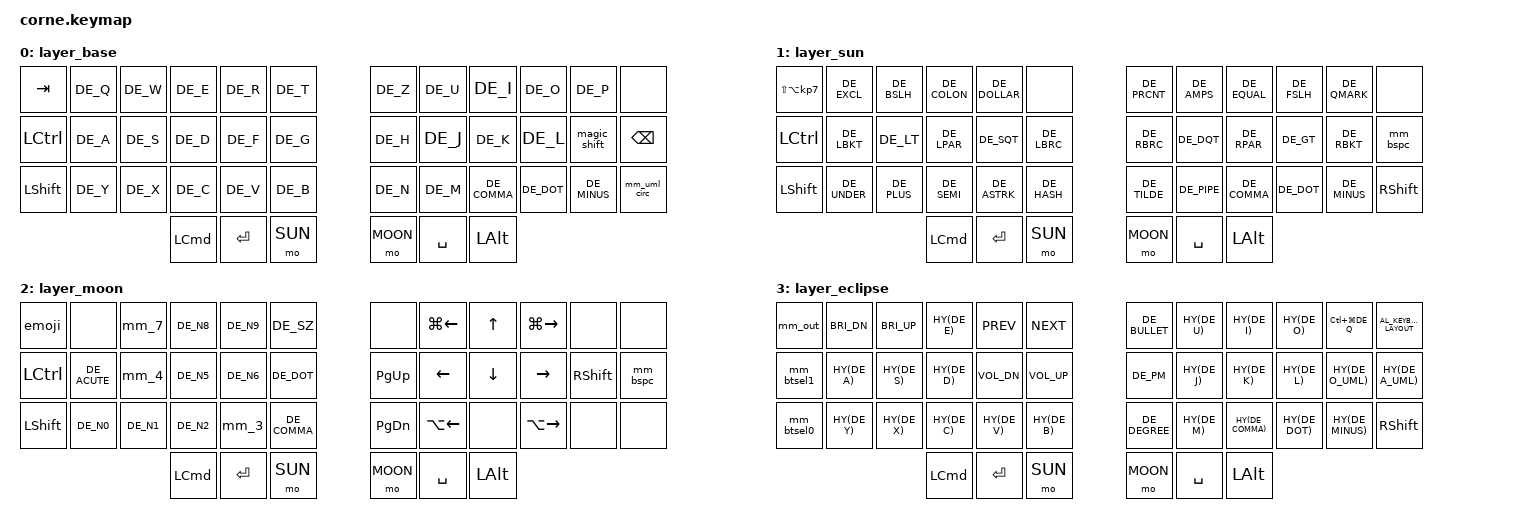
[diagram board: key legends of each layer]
#include <behaviors.dtsi>
#include <dt-bindings/zmk/bt.h>
#include <dt-bindings/zmk/keys.h>
#include <dt-bindings/zmk/outputs.h>
#include "keys_de.h"
#include "keypos_qwertz.h"

#define BASE 0
#define SUN 1
#define MOON 2
#define ECLIPSE 3


#define R_SHIFTED(NAME, REGULAR, SHIFTED) \
    NAME: NAME { \
        compatible = "zmk,behavior-mod-morph"; \
        #binding-cells = <0>; \
        bindings = REGULAR, SHIFTED; \
        mods = <(MOD_LSFT|MOD_RSFT)>; \
    };
#define R_SHIFT_CMD_NUM(NAME, NUMBER) \
    NAME: NAME { \
        compatible = "zmk,behavior-mod-morph"; \
        #binding-cells = <0>; \
        bindings = <&kp NUMBER>, <&kp LG(NUMBER)>; \
        mods = <(MOD_LSFT|MOD_RSFT)>; \
        keep-mods = <(MOD_LSFT|MOD_RSFT)>; \
    };

#define R_UNI_START <&macro_tap &kp LC(SPACE)>, <&macro_press &kp LALT>
#define R_UNI_END <&macro_release &kp LALT>, <&macro_tap &kp LC(SPACE)>
#define R_UNICODE(NAME, U1, U2, U3, U4) ZMK_MACRO(NAME, wait-ms = <40>; tap-ms = <40>; \
    bindings = R_UNI_START, <&macro_tap &kp U1 &kp U2 &kp U3 &kp U4>, R_UNI_END;)

#define HYPER(keycode) LS(LC(LA(LG(keycode))))
#define HY HYPER

&soft_off {
    hold-time-ms = <3000>;
};

/ {
    keymap {
        compatible = "zmk,keymap";

        layer_base {
            bindings = <
/* ╭───────────┬─────────┬─────────┬─────────┬───────────┬─────────╮   ╭─────────┬──────────┬─────────────┬───────────┬─────────────┬─────────────╮ */
    &kp TAB     &kp DE_Q  &kp DE_W  &kp DE_E  &kp DE_R    &kp DE_T      &kp DE_Z  &kp DE_U   &kp DE_I      &kp DE_O    &kp DE_P      &none
/* ├───────────┼─────────┼─────────┼─────────┼───────────┼─────────┤   ├─────────┼──────────┼─────────────┼───────────┼─────────────┼─────────────┤ */
    &kp LCTRL   &kp DE_A  &kp DE_S  &kp DE_D  &kp DE_F    &kp DE_G      &kp DE_H  &kp DE_J   &kp DE_K      &kp DE_L    &magic_shift  &kp BSPC
/* ├───────────┼─────────┼─────────┼─────────┼───────────┼─────────┤   ├─────────┼──────────┼─────────────┼───────────┼─────────────┼─────────────┤ */
    &kp LSHIFT  &kp DE_Y  &kp DE_X  &kp DE_C  &kp DE_V    &kp DE_B      &kp DE_N  &kp DE_M   &kp DE_COMMA  &kp DE_DOT  &kp DE_MINUS  &mm_uml_circ
/* ╰───────────┴─────────┴─────────┼─────────┼───────────┼─────────┤   ├─────────┼──────────┼─────────────┼───────────┴─────────────┴─────────────╯ */
                                    &kp LCMD  &kp RETURN  &mo SUN       &mo MOON  &kp SPACE  &kp LALT
/*                                 ╰─────────┴───────────┴─────────╯   ╰─────────┴──────────┴─────────────╯                                         */
            >;
        };

        layer_sun {
            bindings = <
/* ╭──────────────────┬─────────────┬────────────┬─────────────┬──────────────┬────────────╮   ╭─────────────┬────────────┬─────────────┬────────────┬─────────────┬──────────╮ */
    &kp LS(LA(KP_N7))  &kp DE_EXCL   &kp DE_BSLH  &kp DE_COLON  &kp DE_DOLLAR  &none            &kp DE_PRCNT  &kp DE_AMPS  &kp DE_EQUAL  &kp DE_FSLH  &kp DE_QMARK  &none
/* ├──────────────────┼─────────────┼────────────┼─────────────┼──────────────┼────────────┤   ├─────────────┼────────────┼─────────────┼────────────┼─────────────┼──────────┤ */
    &kp LCTRL          &kp DE_LBKT   &kp DE_LT    &kp DE_LPAR   &kp DE_SQT     &kp DE_LBRC      &kp DE_RBRC   &kp DE_DQT   &kp DE_RPAR   &kp DE_GT    &kp DE_RBKT   &mm_bspc
/* ├──────────────────┼─────────────┼────────────┼─────────────┼──────────────┼────────────┤   ├─────────────┼────────────┼─────────────┼────────────┼─────────────┼──────────┤ */
    &kp LSHFT          &kp DE_UNDER  &kp DE_PLUS  &kp DE_SEMI   &kp DE_ASTRK   &kp DE_HASH      &kp DE_TILDE  &kp DE_PIPE  &kp DE_COMMA  &kp DE_DOT   &kp DE_MINUS  &kp RSHFT
/* ╰──────────────────┴─────────────┴────────────┼─────────────┼──────────────┼────────────┤   ├─────────────┼────────────┼─────────────┼────────────┴─────────────┴──────────╯ */
                                                  &kp LCMD      &kp RETURN     &mo SUN          &mo MOON      &kp SPACE    &kp LALT
/*                                               ╰─────────────┴──────────────┴────────────╯   ╰─────────────┴────────────┴─────────────╯                                       */
            >;
        };

        layer_moon {
            bindings = <
/* ╭──────────┬─────────────┬──────────┬──────────┬───────────┬─────────────╮   ╭───────────┬─────────────┬─────────┬──────────────┬─────────────┬─────────╮ */
    &emoji     &none         &mm_7      &kp DE_N8  &kp DE_N9   &kp DE_SZ         &none       &kp LG(LEFT)  &kp UP    &kp LG(RIGHT)  &none         &none
/* ├──────────┼─────────────┼──────────┼──────────┼───────────┼─────────────┤   ├───────────┼─────────────┼─────────┼──────────────┼─────────────┼─────────┤ */
    &kp LCTRL  &kp DE_ACUTE  &mm_4      &kp DE_N5  &kp DE_N6   &kp DE_DOT        &kp PG_UP   &kp LEFT      &kp DOWN  &kp RIGHT      &kp RSHIFT    &mm_bspc
/* ├──────────┼─────────────┼──────────┼──────────┼───────────┼─────────────┤   ├───────────┼─────────────┼─────────┼──────────────┼─────────────┼─────────┤ */
    &kp LSHFT  &kp DE_N0     &kp DE_N1  &kp DE_N2  &mm_3       &kp DE_COMMA      &kp PG_DN   &kp LA(LEFT)  &none     &kp LA(RIGHT)  &none         &none
/* ╰──────────┴─────────────┴──────────┼──────────┼───────────┼─────────────┤   ├───────────┼─────────────┼─────────┼──────────────┴─────────────┴─────────╯ */
                                        &kp LCMD   &kp RETURN  &mo SUN           &mo MOON    &kp SPACE     &kp LALT
/*                                     ╰──────────┴───────────┴─────────────╯   ╰───────────┴─────────────┴─────────╯                                        */
            >;
        };

        layer_eclipse {
            bindings = <
/* ╭───────────┬─────────────┬─────────────┬─────────────┬─────────────┬─────────────╮   ╭──────────────┬─────────────┬─────────────────┬───────────────┬─────────────────┬─────────────────────────╮ */
    &mm_out     &kp C_BRI_DN  &kp C_BRI_UP  &kp HY(DE_E)  &kp C_PREV    &kp C_NEXT        &kp DE_BULLET  &kp HY(DE_U)  &kp HY(DE_I)      &kp HY(DE_O)    &kp LC(LG(DE_Q))  &kp C_AL_KEYBOARD_LAYOUT
/* ├───────────┼─────────────┼─────────────┼─────────────┼─────────────┼─────────────┤   ├──────────────┼─────────────┼─────────────────┼───────────────┼─────────────────┼─────────────────────────┤ */
    &mm_btsel1  &kp HY(DE_A)  &kp HY(DE_S)  &kp HY(DE_D)  &kp C_VOL_DN  &kp C_VOL_UP      &kp DE_PM      &kp HY(DE_J)  &kp HY(DE_K)      &kp HY(DE_L)    &kp HY(DE_O_UML)  &kp HY(DE_A_UML)
/* ├───────────┼─────────────┼─────────────┼─────────────┼─────────────┼─────────────┤   ├──────────────┼─────────────┼─────────────────┼───────────────┼─────────────────┼─────────────────────────┤ */
    &mm_btsel0  &kp HY(DE_Y)  &kp HY(DE_X)  &kp HY(DE_C)  &kp HY(DE_V)  &kp HY(DE_B)      &kp DE_DEGREE  &kp HY(DE_M)  &kp HY(DE_COMMA)  &kp HY(DE_DOT)  &kp HY(DE_MINUS)  &kp RSHIFT
/* ╰───────────┴─────────────┴─────────────┼─────────────┼─────────────┼─────────────┤   ├──────────────┼─────────────┼─────────────────┼───────────────┴─────────────────┴─────────────────────────╯ */
                                            &kp LCMD      &kp RETURN    &mo SUN           &mo MOON       &kp SPACE     &kp LALT
/*                                         ╰─────────────┴─────────────┴─────────────╯   ╰──────────────┴─────────────┴─────────────────╯                                                             */
            >;
        };
    };
 
    combos {
        compatible = "zmk,combos";

        // ╭─────────────────────────╮ ╭─────────────────────────╮
        // │ TAB  Q   W   E   R   T  │ │  Z   U   I   O   P   UE │
        // │ CPS  A   S   D   F   G  │ │  H   J   K   L   OE  AE │
        // │  LT  Y   X   C   V   B  │ │  N   M   ,  PNK MNS RSH │
        // ╰───────────╮ DL2 DL1 DL0 │ │ DR0 DR1 DR2 ╭───────────╯
        //             ╰─────────────╯ ╰─────────────╯

        esc { key-positions = <posTAB posQ>; bindings = <&kp ESC>; layers = <BASE>; require-prior-idle-ms = <200>; };
        qw { key-positions = <posQ posW>; bindings = <&kp DE_LBRC>; layers = <BASE>; require-prior-idle-ms = <500>; };
        we { key-positions = <posW posE>; bindings = <&kp DE_LPAR>; layers = <BASE>; require-prior-idle-ms = <500>; };
        er { key-positions = <posE posR>; bindings = <&kp DE_LBKT>; layers = <BASE>; require-prior-idle-ms = <500>; };
        ui { key-positions = <posU posI>; bindings = <&kp DE_RBKT>; layers = <BASE>; require-prior-idle-ms = <500>; };
        io { key-positions = <posI posO>; bindings = <&kp DE_RPAR>; layers = <BASE>; require-prior-idle-ms = <500>; };
        op { key-positions = <posO posP>; bindings = <&kp DE_RBRC>; layers = <BASE>; require-prior-idle-ms = <500>; };

        n1 { key-positions = <posQ posA>;  bindings = <&kp N1>; layers = <BASE>; require-prior-idle-ms = <200>; };
        n2 { key-positions = <posW posS>;  bindings = <&kp N2>; layers = <BASE>; require-prior-idle-ms = <200>; };
        n3 { key-positions = <posE posD>;  bindings = <&kp N3>; layers = <BASE>; require-prior-idle-ms = <200>; };
        n4 { key-positions = <posR posF>;  bindings = <&kp N4>; layers = <BASE>; require-prior-idle-ms = <200>; };
        n5 { key-positions = <posT posG>;  bindings = <&kp N5>; layers = <BASE>; require-prior-idle-ms = <200>; };
        n6 { key-positions = <posZ posH>;  bindings = <&kp N6>; layers = <BASE>; require-prior-idle-ms = <200>; };
        n7 { key-positions = <posU posJ>;  bindings = <&kp N7>; layers = <BASE>; require-prior-idle-ms = <200>; };
        n8 { key-positions = <posI posK>;  bindings = <&kp N8>; layers = <BASE>; require-prior-idle-ms = <200>; };
        n9 { key-positions = <posO posL>;  bindings = <&kp N9>; layers = <BASE>; require-prior-idle-ms = <200>; };
        n0 { key-positions = <posP posOE>; bindings = <&kp N0>; layers = <BASE>; require-prior-idle-ms = <200>; };

        codeArrowLeft  { key-positions = <posA posS>;  bindings = <&tp_lt_minus>; layers = <SUN>; require-prior-idle-ms = <100>; };
        codeArrowRight { key-positions = <posL posOE>; bindings = <&tp_minus_gt>; layers = <SUN>; require-prior-idle-ms = <100>; };
        codeHeavyArrowLeft  { key-positions = <posQ posW>;  bindings = <&tp_lt_equal>; layers = <SUN>; require-prior-idle-ms = <100>; };
        codeHeavyArrowRight { key-positions = <posO posP>; bindings = <&tp_equal_gt>; layers = <SUN>; require-prior-idle-ms = <100>; };


        mute { key-positions = <posF posG>; bindings = <&kp C_MUTE>; layers = <ECLIPSE>; require-prior-idle-ms = <200>; };
        playpause { key-positions = <posR posT>; bindings = <&kp C_PP>; layers = <ECLIPSE>; require-prior-idle-ms = <200>; };

        comment { key-positions = <posI posO>; bindings = <&kp LS(LG(N7))>; layers = <SUN>; require-prior-idle-ms = <200>; };

        lalt { key-positions = <posLT posY>; bindings = <&kp RALT>; layers = <BASE SUN MOON>; require-prior-idle-ms = <200>; };
        del { key-positions = <posP posUE>; bindings = <&kp DELETE>; layers = <BASE SUN MOON>; require-prior-idle-ms = <100>; };
        lbsp { key-positions = <posTAB posCPS>; bindings = <&kp BSPC>; layers = <BASE>; require-prior-idle-ms = <100>; };
        ctrlA { key-positions = <posX posC>; bindings = <&kp LC(DE_A)>; layers = <BASE>; require-prior-idle-ms = <300>; };
        ctrlC { key-positions = <posC posV>; bindings = <&kp LC(DE_C)>; layers = <BASE>; require-prior-idle-ms = <300>; };
        palette { key-positions = <posK posL>; bindings = <&kp LS(LG(DE_P))>; layers = <SUN>; require-prior-idle-ms = <300>; };

        uml { key-positions = <posKOM posPNK>; bindings = <&kp RA(U)>; layers = <BASE>; require-prior-idle-ms = <200>; };

        shiftAlt { key-positions = <posY posX>; bindings = <&kp LS(LALT)>; layers = <BASE SUN MOON>; require-prior-idle-ms = <200>; };

        altUp { key-positions = <posI posO>; bindings = <&kp LA(UP)>; layers = <MOON>; require-prior-idle-ms = <100>; };
        altDown { key-positions = <posK posL>; bindings = <&kp LA(DOWN)>; layers = <MOON>; require-prior-idle-ms = <100>; };
        cmdUp { key-positions = <posU posI>; bindings = <&kp LG(UP)>; layers = <MOON>; require-prior-idle-ms = <100>; };
        cmdDown { key-positions = <posJ posK>; bindings = <&kp LG(DOWN)>; layers = <MOON>; require-prior-idle-ms = <100>; };

        softoff { key-positions = <posR posT posZ posU>; bindings = <&soft_off>; layers = <BASE>; require-prior-idle-ms = <1000>; };
        // eclipse { key-positions = <posDR0 posDR1>; bindings = <&mo ECLIPSE>; layers = <BASE SUN MOON ECLIPSE>; require-prior-idle-ms = <200>; }; // :(
    };

    conditional_layers {
        compatible = "zmk,conditional-layers";

        tri_layer {
            if-layers = <SUN MOON>;
            then-layer = <ECLIPSE>;
        };
    };

    macros {
        ZMK_MACRO(r_bt0_clr, bindings = <&bt BT_SEL 0 &bt BT_CLR>; wait-ms = <0>;)
        ZMK_MACRO(r_bt1_clr, bindings = <&bt BT_SEL 1 &bt BT_CLR>; wait-ms = <0>;)
        
        // "type" macros
        ZMK_MACRO(tp_lt_minus, bindings = <&macro_tap &kp DE_LT &kp DE_MINUS>; wait-ms = <10>;)
        ZMK_MACRO(tp_minus_gt, bindings = <&macro_tap &kp DE_MINUS &kp DE_GT>; wait-ms = <10>;)
        ZMK_MACRO(tp_lt_equal, bindings = <&macro_tap &kp DE_LT &kp DE_EQUAL>; wait-ms = <10>;)
        ZMK_MACRO(tp_equal_gt, bindings = <&macro_tap &kp DE_EQUAL &kp DE_GT>; wait-ms = <10>;)

        R_UNICODE(uni_times,  N0, N0, D,  N7) // ×  U+00D7  MULTIPLICATION SIGN
        R_UNICODE(uni_fwast,  F,  F,  N0, A)  // ＊  U+FF0A  FULLWIDTH ASTERISK
        R_UNICODE(uni_square, N0, N0, B,  N2) // ²  U+00B2   SUPERSCRIPT TWO
        R_UNICODE(uni_hun_o,  N0, N1, N5, N1) // ő  U+0151  LATIN SMALL LETTER O WITH DOUBLE ACUTE
        R_UNICODE(uni_rarr,   N2, N1, N9, N2) // →  U+2192  RIGHTWARDS ARROW
        R_UNICODE(uni_larr,   N2, N1, N9, N0) // ←  U+2190  LEFTWARDS ARROW

        ZMK_MACRO(emoji, bindings = <&macro_press &kp GLOBE>, <&macro_tap &kp E>, <&macro_release &kp GLOBE>; wait-ms = <0>;)
    };

    behaviors {
        R_SHIFTED(mm_btsel0, <&bt BT_SEL 0>, <&r_bt0_clr>)
        R_SHIFTED(mm_btsel1, <&bt BT_SEL 1>, <&r_bt1_clr>)
        R_SHIFTED(mm_out, <&out OUT_BLE>, <&out OUT_USB>)

        R_SHIFTED(mm_bri, <&kp C_BRI_UP>, <&kp C_BRI_DN>)
        R_SHIFTED(mm_arr, <&uni_rarr>, <&uni_larr>)

        R_SHIFTED(mm_uml_circ, <&kp RA(U)>, <&kp DE_CARET>)
        R_SHIFTED(mm_bspc, <&kp BSPC>, <&kp DELETE>)

        R_SHIFT_CMD_NUM(mm_3, N3)
        R_SHIFT_CMD_NUM(mm_4, N4)
        R_SHIFT_CMD_NUM(mm_7, N7)

        skq: sticky_key_quick_release {
            compatible = "zmk,behavior-sticky-key";
            #binding-cells = <1>;
            bindings = <&kp>;
            release-after-ms = <1000>;
            ignore-modifiers;
            quick-release; // modified from default sticky-Key
        };
        caps_word_nobs: behaviour_cps_nobs {
            compatible = "zmk,behavior-caps-word";
            #binding-cells = <0>;
            continue-list = <UNDERSCORE>; // no backspace
        };
        magic_shift: behaviour_magic_shift {
            compatible = "zmk,behavior-tap-dance";
            #binding-cells = <0>;
            tapping-term-ms = <300>;
            bindings = <&skq RSHIFT>, <&caps_word_nobs>;
        };
    };
};
